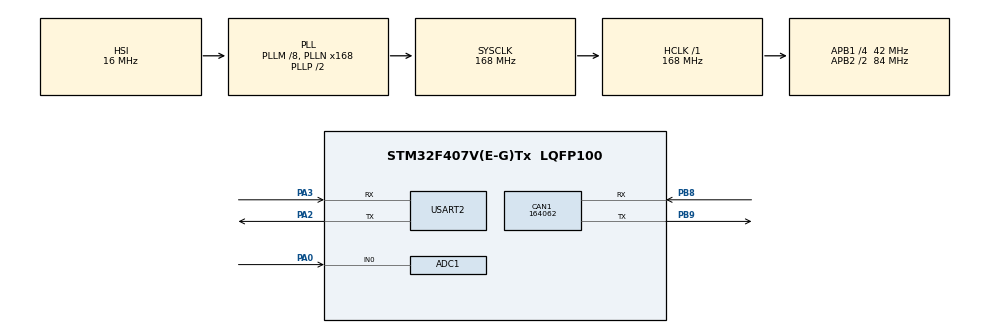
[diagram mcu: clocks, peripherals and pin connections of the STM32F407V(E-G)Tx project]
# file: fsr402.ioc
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ADC1.Channel-0\#ChannelRegularConversion=ADC_CHANNEL_0
ADC1.NbrOfConversionFlag=1
ADC1.Rank-0\#ChannelRegularConversion=1
ADC1.SamplingTime-0\#ChannelRegularConversion=ADC_SAMPLETIME_3CYCLES
ADC1.master=1
CAN1.BS1=CAN_BS1_13TQ
CAN1.BS2=CAN_BS2_2TQ
CAN1.CalculateBaudRate=164062
CAN1.CalculateTimeBit=6095
CAN1.CalculateTimeQuantum=380.95238095238096
Mcu.Family=STM32F4
Mcu.Name=STM32F407V(E-G)Tx
Mcu.Package=LQFP100
NVIC.CAN1_RX0_IRQn=true\:0\:0\:false\:false\:true\:true\:true\:true
NVIC.PriorityGroup=NVIC_PRIORITYGROUP_0
NVIC.USART2_IRQn=true\:0\:0\:false\:false\:true\:true\:true\:true
PA0-WKUP.Signal=ADCx_IN0
PA2.Mode=Asynchronous
PA2.Signal=USART2_TX
PA3.Mode=Asynchronous
PA3.Signal=USART2_RX
PB8.Mode=CAN_Activate
PB8.Signal=CAN1_RX
PB9.Mode=CAN_Activate
PB9.Signal=CAN1_TX
ProjectManager.HeapSize=0x200
ProjectManager.StackSize=0x400
ProjectManager.TargetToolchain=STM32CubeIDE
RCC.48MHZClocksFreq_Value=48000000
RCC.AHBFreq_Value=168000000
RCC.APB1CLKDivider=RCC_HCLK_DIV4
RCC.APB1Freq_Value=42000000
RCC.APB1TimFreq_Value=84000000
RCC.APB2CLKDivider=RCC_HCLK_DIV2
RCC.APB2Freq_Value=84000000
RCC.APB2TimFreq_Value=168000000
RCC.CortexFreq_Value=168000000
RCC.HCLKFreq_Value=168000000
RCC.HSE_VALUE=8000000
RCC.HSI_VALUE=16000000
RCC.LSE_VALUE=32768
RCC.PLLM=8
RCC.PLLN=168
RCC.PLLQ=7
RCC.SYSCLKFreq_VALUE=168000000
RCC.SYSCLKSource=RCC_SYSCLKSOURCE_PLLCLK
RCC.VCOOutputFreq_Value=336000000
SH.ADCx_IN0.0=ADC1_IN0,IN0
USART2.VirtualMode=VM_ASYNC
board=STM32F407G-DISC1

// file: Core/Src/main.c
/* USER CODE BEGIN Header */
/**
  ******************************************************************************
  * @file           : main.c
  * @brief          : Main program body
  ******************************************************************************
  * @attention
  *
  * Copyright (c) 2026 STMicroelectronics.
  * All rights reserved.
  *
  * This software is licensed under terms that can be found in the LICENSE file
  * in the root directory of this software component.
  * If no LICENSE file comes with this software, it is provided AS-IS.
  *
  ******************************************************************************
  */
/* USER CODE END Header */
#include "main.h"
#include <string.h>

/* USER CODE BEGIN PM */
#define FSR_THRESHOLD 1200
/* USER CODE END PM */

ADC_HandleTypeDef hadc1;

CAN_HandleTypeDef hcan1;

UART_HandleTypeDef huart2;

/* USER CODE BEGIN PV */
CAN_TxHeaderTypeDef TxHeader;
uint32_t TxMailbox;
uint8_t TxData[1];

/* USER CODE END PV */

void SystemClock_Config(void);
static void MX_GPIO_Init(void);
static void MX_ADC1_Init(void);
static void MX_CAN1_Init(void);
static void MX_USART2_UART_Init(void);
/* USER CODE BEGIN PFP */
void CAN_Filter_Config(void);
uint16_t Read_FSR_ADC(void);
void CAN_Send_DriverStatus(uint8_t status);
void UART_Print(char *msg);
/* USER CODE END PFP */

/* USER CODE BEGIN 0 */
uint16_t Read_FSR_ADC(void)
{
    uint16_t adc_val;

    HAL_ADC_Start(&hadc1);
    HAL_ADC_PollForConversion(&hadc1, HAL_MAX_DELAY);
    adc_val = HAL_ADC_GetValue(&hadc1);
    HAL_ADC_Stop(&hadc1);

    return adc_val;
   }

void UART_Print(char *msg)
{
    HAL_UART_Transmit(&huart2, (uint8_t*)msg, strlen(msg), HAL_MAX_DELAY);
}
void CAN_Send_DriverStatus(uint8_t status)
{
    TxHeader.StdId = 0x103;        // Driver status ID
    TxHeader.ExtId = 0;
    TxHeader.IDE = CAN_ID_STD;
    TxHeader.RTR = CAN_RTR_DATA;
    TxHeader.DLC = 1;
    TxHeader.TransmitGlobalTime = DISABLE;

    TxData[0] = status;           // 1 = Present, 0 = Not Present

    HAL_CAN_AddTxMessage(&hcan1, &TxHeader, TxData, &TxMailbox);
}

void CAN_Filter_Config(void)
{
    CAN_FilterTypeDef filter;

    filter.FilterBank = 0;
    filter.FilterMode = CAN_FILTERMODE_IDMASK;
    filter.FilterScale = CAN_FILTERSCALE_32BIT;
    filter.FilterIdHigh = 0x0000;
    filter.FilterIdLow = 0x0000;
    filter.FilterMaskIdHigh = 0x0000;
    filter.FilterMaskIdLow = 0x0000;
    filter.FilterFIFOAssignment = CAN_RX_FIFO0;
    filter.FilterActivation = ENABLE;

    HAL_CAN_ConfigFilter(&hcan1, &filter);
}
/* USER CODE END 0 */

int main(void)
{

  /* USER CODE BEGIN 1 */
    uint16_t fsr_value;
  /* USER CODE END 1 */

  /* MCU Configuration--------------------------------------------------------*/

  /* Reset of all peripherals, Initializes the Flash interface and the Systick. */
  HAL_Init();

  /* Configure the system clock */
  SystemClock_Config();

  /* Initialize all configured peripherals */
  MX_GPIO_Init();
  MX_ADC1_Init();
  MX_CAN1_Init();
  MX_USART2_UART_Init();

  CAN_Filter_Config();

  HAL_CAN_Start(&hcan1);

  /* USER CODE BEGIN 2 */
  UART_Print("FSR Driver Detection Started\r\n");
  /* USER CODE END 2 */

  /* Infinite loop */
  while (1)
  {
	  fsr_value = Read_FSR_ADC();

	          if (fsr_value > FSR_THRESHOLD)
	          {
	              CAN_Send_DriverStatus(1);
	              UART_Print("Driver Present\r\n");
	          }
	          else
	          {
	              CAN_Send_DriverStatus(0);
	              UART_Print("Driver Not Present\r\n");
	          }

	          HAL_Delay(1000);

  }
}

void SystemClock_Config(void)
{
  RCC_OscInitTypeDef RCC_OscInitStruct = {0};
  RCC_ClkInitTypeDef RCC_ClkInitStruct = {0};

  /** Configure the main internal regulator output voltage
  */
  __HAL_RCC_PWR_CLK_ENABLE();
  __HAL_PWR_VOLTAGESCALING_CONFIG(PWR_REGULATOR_VOLTAGE_SCALE1);

  /** Initializes the RCC Oscillators according to the specified parameters
  * in the RCC_OscInitTypeDef structure.
  */
  RCC_OscInitStruct.OscillatorType = RCC_OSCILLATORTYPE_HSI;
  RCC_OscInitStruct.HSIState = RCC_HSI_ON;
  RCC_OscInitStruct.HSICalibrationValue = RCC_HSICALIBRATION_DEFAULT;
  RCC_OscInitStruct.PLL.PLLState = RCC_PLL_ON;
  RCC_OscInitStruct.PLL.PLLSource = RCC_PLLSOURCE_HSI;
  RCC_OscInitStruct.PLL.PLLM = 8;
  RCC_OscInitStruct.PLL.PLLN = 168;
  RCC_OscInitStruct.PLL.PLLP = RCC_PLLP_DIV2;
  RCC_OscInitStruct.PLL.PLLQ = 7;
  if (HAL_RCC_OscConfig(&RCC_OscInitStruct) != HAL_OK)
  {
    Error_Handler();
  }

  /** Initializes the CPU, AHB and APB buses clocks
  */
  RCC_ClkInitStruct.ClockType = RCC_CLOCKTYPE_HCLK|RCC_CLOCKTYPE_SYSCLK
                              |RCC_CLOCKTYPE_PCLK1|RCC_CLOCKTYPE_PCLK2;
  RCC_ClkInitStruct.SYSCLKSource = RCC_SYSCLKSOURCE_PLLCLK;
  RCC_ClkInitStruct.AHBCLKDivider = RCC_SYSCLK_DIV1;
  RCC_ClkInitStruct.APB1CLKDivider = RCC_HCLK_DIV4;
  RCC_ClkInitStruct.APB2CLKDivider = RCC_HCLK_DIV2;

  if (HAL_RCC_ClockConfig(&RCC_ClkInitStruct, FLASH_LATENCY_5) != HAL_OK)
  {
    Error_Handler();
  }
}

static void MX_ADC1_Init(void)
{

  ADC_ChannelConfTypeDef sConfig = {0};

  /** Configure the global features of the ADC (Clock, Resolution, Data Alignment and number of conversion)
  */
  hadc1.Instance = ADC1;
  hadc1.Init.ClockPrescaler = ADC_CLOCK_SYNC_PCLK_DIV4;
  hadc1.Init.Resolution = ADC_RESOLUTION_12B;
  hadc1.Init.ScanConvMode = DISABLE;
  hadc1.Init.ContinuousConvMode = DISABLE;
  hadc1.Init.DiscontinuousConvMode = DISABLE;
  hadc1.Init.ExternalTrigConvEdge = ADC_EXTERNALTRIGCONVEDGE_NONE;
  hadc1.Init.ExternalTrigConv = ADC_SOFTWARE_START;
  hadc1.Init.DataAlign = ADC_DATAALIGN_RIGHT;
  hadc1.Init.NbrOfConversion = 1;
  hadc1.Init.DMAContinuousRequests = DISABLE;
  hadc1.Init.EOCSelection = ADC_EOC_SINGLE_CONV;
  if (HAL_ADC_Init(&hadc1) != HAL_OK)
  {
    Error_Handler();
  }

  /** Configure for the selected ADC regular channel its corresponding rank in the sequencer and its sample time.
  */
  sConfig.Channel = ADC_CHANNEL_0;
  sConfig.Rank = 1;
  sConfig.SamplingTime = ADC_SAMPLETIME_144CYCLES;
  if (HAL_ADC_ConfigChannel(&hadc1, &sConfig) != HAL_OK)
  {
    Error_Handler();
  }

}

static void MX_CAN1_Init(void)
{

  hcan1.Instance = CAN1;
  hcan1.Init.Prescaler = 16;
  hcan1.Init.Mode = CAN_MODE_NORMAL;
  hcan1.Init.SyncJumpWidth = CAN_SJW_1TQ;
  hcan1.Init.TimeSeg1 = CAN_BS1_13TQ;
  hcan1.Init.TimeSeg2 = CAN_BS2_2TQ;
  hcan1.Init.TimeTriggeredMode = DISABLE;
  hcan1.Init.AutoBusOff = DISABLE;
  hcan1.Init.AutoWakeUp = DISABLE;
  hcan1.Init.AutoRetransmission = DISABLE;
  hcan1.Init.ReceiveFifoLocked = DISABLE;
  hcan1.Init.TransmitFifoPriority = DISABLE;
  if (HAL_CAN_Init(&hcan1) != HAL_OK)
  {
    Error_Handler();
  }

}

static void MX_USART2_UART_Init(void)
{

  huart2.Instance = USART2;
  huart2.Init.BaudRate = 115200;
  huart2.Init.WordLength = UART_WORDLENGTH_8B;
  huart2.Init.StopBits = UART_STOPBITS_1;
  huart2.Init.Parity = UART_PARITY_NONE;
  huart2.Init.Mode = UART_MODE_TX_RX;
  huart2.Init.HwFlowCtl = UART_HWCONTROL_NONE;
  huart2.Init.OverSampling = UART_OVERSAMPLING_16;
  if (HAL_UART_Init(&huart2) != HAL_OK)
  {
    Error_Handler();
  }

}

static void MX_GPIO_Init(void)
{

  /* GPIO Ports Clock Enable */
  __HAL_RCC_GPIOA_CLK_ENABLE();
  __HAL_RCC_GPIOB_CLK_ENABLE();

}

void Error_Handler(void)
{
  __disable_irq();
  while (1)
  {
  }
}
